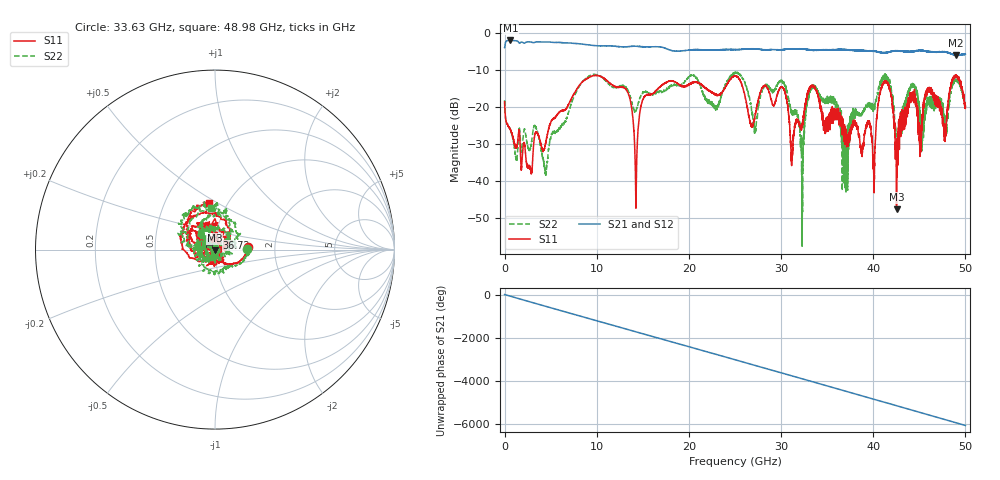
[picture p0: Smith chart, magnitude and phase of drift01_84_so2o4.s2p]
!Created with skrf (http://scikit-rf.org).
# Hz S RI R 50.0
!freq ReS11 ImS11 ReS21 ImS21 ReS12 ImS12 ReS22 ImS22
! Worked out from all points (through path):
!   10001 points, 300 kHz to 50 GHz, reference 50 ohm
!   highest |S21| = -2.00 dB at 625.3 MHz (marker M1); lowest = -6.1 dB at 48.98 GHz (marker M2)
!   group delay of S21, straight-line fit = 336 ps
!   lowest |S11| = -47.7 dB at 42.54 GHz (marker M3), VSWR 1.01, Z = 49.9 - j0.393 ohm
!   |S11| at or under -10 dB: start of sweep to end of sweep
!   |S22| runs from -57.7 to -10.6 dB; largest |S21 - S12| = 0.02
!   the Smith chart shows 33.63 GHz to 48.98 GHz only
!   S11 on the Smith chart (normalised r, x): 33.63 GHz: 1.46, +0.04; 36.72 GHz: 1.02, +0.14; 48.98 GHz: 0.81, +0.46
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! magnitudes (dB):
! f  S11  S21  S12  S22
! 300 kHz  -18.6  -4.0  -4.1  -18.2
! 625.3 MHz  -26.1  -2.0  -2.0  -26.1
! 4.445 GHz  -29.8  -2.4  -2.4  -38.0
! 8.335 GHz  -13.5  -2.9  -3.0  -13.5
! 13.17 GHz  -15.2  -3.7  -3.7  -14.6
! 14.25 GHz  -47.4  -3.6  -3.6  -21.2
! 16.67 GHz  -15.0  -3.7  -3.7  -15.9
! 25 GHz  -11.5  -4.5  -4.5  -10.9
! 27.18 GHz  -22.3  -4.3  -4.3  -26.2
! 30.22 GHz  -14.8  -4.5  -4.5  -13.5
! 31.16 GHz  -32.5  -4.3  -4.3  -21.0
! 32.28 GHz  -24.9  -4.3  -4.3  -57.7
! 33.34 GHz  -14.2  -4.6  -4.6  -14.6
! 33.63 GHz  -14.6  -4.7  -4.7  -14.9
! 36.72 GHz  -23.2  -4.5  -4.5  -27.0
! 40.04 GHz  -36.1  -4.9  -4.9  -20.0
! 41.67 GHz  -13.8  -5.1  -5.1  -13.3
! 42.54 GHz  -47.7  -4.9  -4.8  -33.3
! 44.13 GHz  -16.8  -5.0  -4.9  -14.0
! 48.98 GHz  -11.5  -5.9  -6.0  -12.6
! 48.98 GHz  -11.4  -6.1  -6.0  -12.5
! 50 GHz  -19.8  -5.7  -5.7  -19.4
